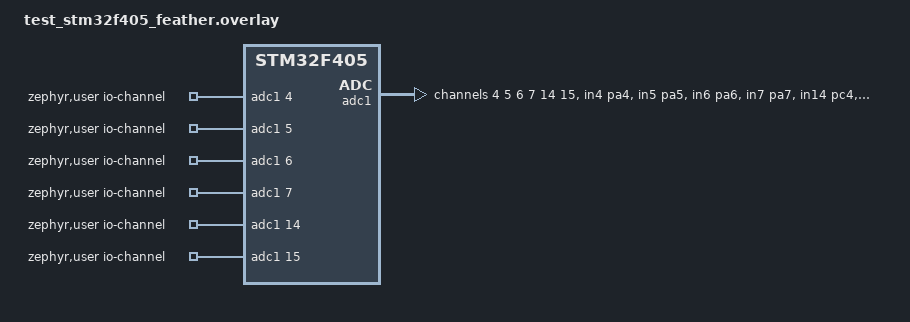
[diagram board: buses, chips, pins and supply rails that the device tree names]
/* Copyright (c) 2025 Lucian Copeland for Adafruit Industries
   SPDX-License-Identifier: Apache-2.0 */

   / {
	zephyr,user {
		/* adjust channel number according to pinmux in board.dts */
		io-channels = <&adc1 4>, <&adc1 5>, <&adc1 6>, <&adc1 7>, <&adc1 14>, <&adc1 15>;
	};
};

&adc1 {
	#address-cells = <1>;
	#size-cells = <0>;

	pinctrl-0 = <&adc1_in4_pa4>, <&adc1_in5_pa5>, <&adc1_in6_pa6>, <&adc1_in7_pa7>,
                <&adc1_in14_pc4>, <&adc1_in15_pc5>;
    pinctrl-names = "default";

	/* Define ADC channels */
	channel@4 {
		reg = <4>;
		zephyr,gain = "ADC_GAIN_1";
		zephyr,reference = "ADC_REF_INTERNAL";
		zephyr,acquisition-time = <ADC_ACQ_TIME_DEFAULT>;
		zephyr,resolution = <12>;
	};

	channel@5 {
		reg = <5>;
		zephyr,gain = "ADC_GAIN_1";
		zephyr,reference = "ADC_REF_INTERNAL";
		zephyr,acquisition-time = <ADC_ACQ_TIME_DEFAULT>;
		zephyr,resolution = <12>;
	};

	channel@6 {
		reg = <6>;
		zephyr,gain = "ADC_GAIN_1";
		zephyr,reference = "ADC_REF_INTERNAL";
		zephyr,acquisition-time = <ADC_ACQ_TIME_DEFAULT>;
		zephyr,resolution = <12>;
	};

	channel@7 {
		reg = <7>;
		zephyr,gain = "ADC_GAIN_1";
		zephyr,reference = "ADC_REF_INTERNAL";
		zephyr,acquisition-time = <ADC_ACQ_TIME_DEFAULT>;
		zephyr,resolution = <12>;
	};

	channel@14 {
		reg = <14>;
		zephyr,gain = "ADC_GAIN_1";
		zephyr,reference = "ADC_REF_INTERNAL";
		zephyr,acquisition-time = <ADC_ACQ_TIME_DEFAULT>;
		zephyr,resolution = <12>;
	};

	channel@15 {
		reg = <15>;
		zephyr,gain = "ADC_GAIN_1";
		zephyr,reference = "ADC_REF_INTERNAL";
		zephyr,acquisition-time = <ADC_ACQ_TIME_DEFAULT>;
		zephyr,resolution = <12>;
	};
};
